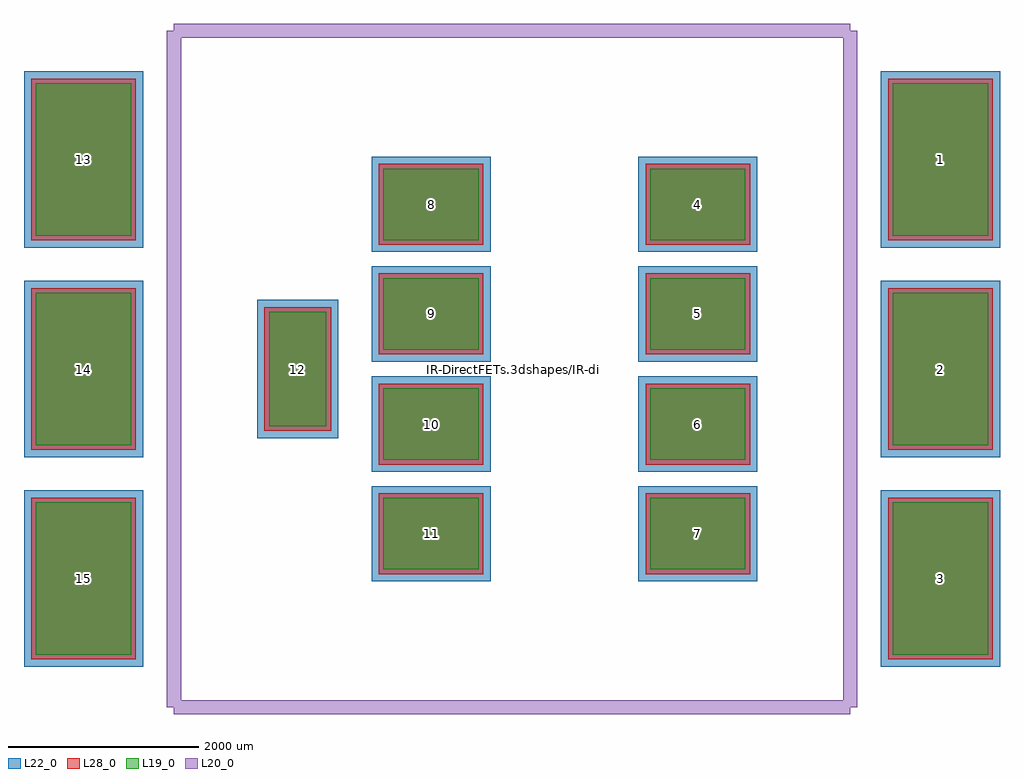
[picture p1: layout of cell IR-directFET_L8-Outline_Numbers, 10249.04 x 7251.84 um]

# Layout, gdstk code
import gdstk
lib = gdstk.Library(unit=1e-6, precision=1e-09)
def R(c, l, rs):  # rectangles x0, y0, x1, y1
    for r in rs: c.add(gdstk.rectangle(r[:2], r[2:], *l))
def A(c, l, x, y, w, h, nx, ny, dx, dy):  # array of equal rectangles
    R(c, l, [(x+i*dx, y+j*dy, x+i*dx+w, y+j*dy+h) for i in range(nx) for j in range(ny)])
L19_0 = (19, 0)
L20_0 = (20, 0)
L22_0 = (22, 0)
L28_0 = (28, 0)

ir_directfet_l8_outline_ = lib.new_cell('IR-directFET_L8-Outline_Numbers')
A(ir_directfet_l8_outline_, L19_0, -5000.79, -2999.27, 999.82, 1599.26, 1, 3, 0, 2199.64)
A(ir_directfet_l8_outline_, L19_0, 3998.43, -2999.27, 999.82, 1599.26, 1, 3, 0, 2199.64)
R(ir_directfet_l8_outline_, L19_0, [(-1350.81,-2105.19,-350.99,-1354.29), (1450.81,-2105.19,2450.63,-1354.29), (-1350.81,-954.57,-350.99,-203.67), (1450.81,-954.57,2450.63,-203.67), (-2550.96,-600.24,-1949.92,600.24), (-1350.81,203.67,-350.99,954.57), (1450.81,203.67,2450.63,954.57), (-1350.81,1354.29,-350.99,2105.19), (1450.81,1354.29,2450.63,2105.19)])
A(ir_directfet_l8_outline_, L22_0, -5125.79, -3124.27, 1249.82, 1849.26, 1, 3, 0, 2199.64)
A(ir_directfet_l8_outline_, L22_0, 3873.43, -3124.27, 1249.82, 1849.26, 1, 3, 0, 2199.64)
R(ir_directfet_l8_outline_, L22_0, [(-1475.81,-2230.19,-225.99,-1229.29), (1325.81,-2230.19,2575.63,-1229.29), (-1475.81,-1079.57,-225.99,-78.67), (1325.81,-1079.57,2575.63,-78.67), (-2675.96,-725.24,-1824.92,725.24), (-1475.81,78.67,-225.99,1079.57), (1325.81,78.67,2575.63,1079.57), (-1475.81,1229.29,-225.99,2230.19), (1325.81,1229.29,2575.63,2230.19)])
A(ir_directfet_l8_outline_, L28_0, -5050.79, -3049.27, 1099.82, 1699.26, 1, 3, 0, 2199.64)
A(ir_directfet_l8_outline_, L28_0, 3948.43, -3049.27, 1099.82, 1699.26, 1, 3, 0, 2199.64)
R(ir_directfet_l8_outline_, L28_0, [(-1400.81,-2155.19,-300.99,-1304.29), (1400.81,-2155.19,2500.63,-1304.29), (-1400.81,-1004.57,-300.99,-153.67), (1400.81,-1004.57,2500.63,-153.67), (-2600.96,-650.24,-1899.92,650.24), (-1400.81,153.67,-300.99,1004.57), (1400.81,153.67,2500.63,1004.57), (-1400.81,1304.29,-300.99,2155.19), (1400.81,1304.29,2500.63,2155.19)])
ir_directfet_l8_outline_.add(gdstk.FlexPath([(-3550.92,-3550.92),(-3550.92,3550.92)], 149.998, ends="flush", simple_path=True, layer=20, datatype=0))  # L20_0
ir_directfet_l8_outline_.add(gdstk.FlexPath([(3550.92,-3550.92),(-3550.92,-3550.92)], 149.998, ends="flush", simple_path=True, layer=20, datatype=0))  # L20_0
ir_directfet_l8_outline_.add(gdstk.FlexPath([(3550.92,3550.92),(3550.92,-3550.92)], 149.998, ends="flush", simple_path=True, layer=20, datatype=0))  # L20_0
ir_directfet_l8_outline_.add(gdstk.FlexPath([(-3550.92,3550.92),(3550.92,3550.92)], 149.998, ends="flush", simple_path=True, layer=20, datatype=0))  # L20_0
ir_directfet_l8_outline_.add(gdstk.Label('IR-DirectFETs.3dshapes/IR-directFET_L8-Outline_Numbers.wrl', (0,0), layer=12, texttype=0))
ir_directfet_l8_outline_.add(gdstk.Label('1', (4498.34,2199.64), layer=28, texttype=0))
ir_directfet_l8_outline_.add(gdstk.Label('3', (4498.34,-2199.64), layer=28, texttype=0))
ir_directfet_l8_outline_.add(gdstk.Label('2', (4498.34,0), layer=28, texttype=0))
ir_directfet_l8_outline_.add(gdstk.Label('15', (-4500.88,-2199.64), layer=28, texttype=0))
ir_directfet_l8_outline_.add(gdstk.Label('13', (-4500.88,2199.64), layer=28, texttype=0))
ir_directfet_l8_outline_.add(gdstk.Label('14', (-4500.88,0), layer=28, texttype=0))
ir_directfet_l8_outline_.add(gdstk.Label('7', (1950.72,-1729.74), layer=28, texttype=0))
ir_directfet_l8_outline_.add(gdstk.Label('11', (-850.9,-1729.74), layer=28, texttype=0))
ir_directfet_l8_outline_.add(gdstk.Label('4', (1950.72,1729.74), layer=28, texttype=0))
ir_directfet_l8_outline_.add(gdstk.Label('8', (-850.9,1729.74), layer=28, texttype=0))
ir_directfet_l8_outline_.add(gdstk.Label('5', (1950.72,579.12), layer=28, texttype=0))
ir_directfet_l8_outline_.add(gdstk.Label('6', (1950.72,-579.12), layer=28, texttype=0))
ir_directfet_l8_outline_.add(gdstk.Label('10', (-850.9,-579.12), layer=28, texttype=0))
ir_directfet_l8_outline_.add(gdstk.Label('9', (-850.9,579.12), layer=28, texttype=0))
ir_directfet_l8_outline_.add(gdstk.Label('12', (-2250.44,0), layer=28, texttype=0))
ir_directfet_l8_outline_.add(gdstk.Label('type', (0,-5999.48), layer=9, texttype=0))
ir_directfet_l8_outline_.add(gdstk.Label('devicename', (0,5001.26), layer=9, texttype=0))

lib.write_gds('IR-directFET_L8-Outline_Numbers.gds')
